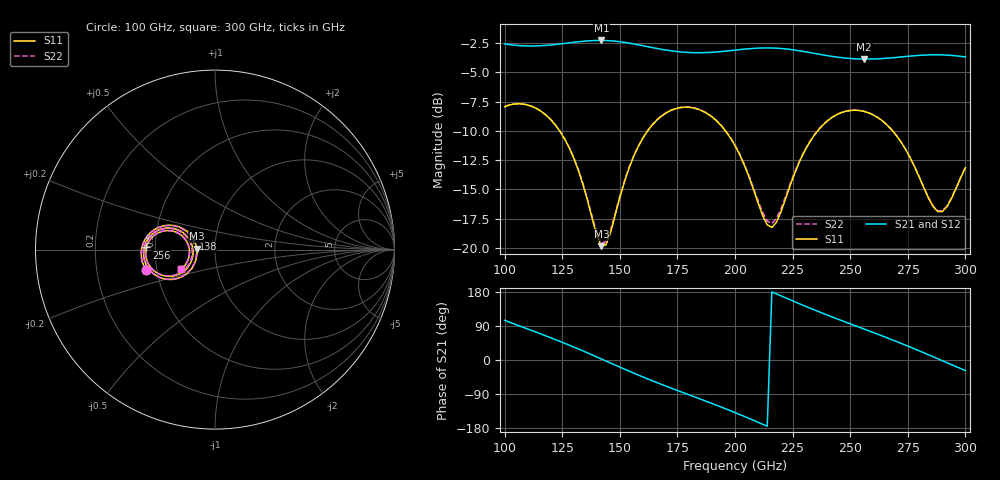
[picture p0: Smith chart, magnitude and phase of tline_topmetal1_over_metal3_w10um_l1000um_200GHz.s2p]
#  GHZ S DB R 50
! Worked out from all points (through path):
!   101 points, 100 GHz to 300 GHz, reference 50 ohm
!   highest |S21| = -2.29 dB at 142 GHz (marker M1); lowest = -3.9 dB at 256 GHz (marker M2)
!   group delay of S21, straight-line fit = 6.85 ps
!   lowest |S11| = -19.8 dB at 142 GHz (marker M3), VSWR 1.23, Z = 40.8 + j0.431 ohm
!   |S11| at or under -10 dB: 123.8 GHz to 162.1 GHz (38.25 GHz wide, 26.8 % of centre); 195.8 GHz to 235.9 GHz (40.07 GHz wide, 18.6 % of centre); 268.4 GHz to end of sweep
!   |S22| runs from -19.6 to -7.7 dB; largest |S21 - S12| = 8.5e-14
!   S11 on the Smith chart (normalised r, x): 100 GHz: 0.43, -0.12; 138 GHz: 0.78, +0.09; 256 GHz: 0.45, +0.01; 300 GHz: 0.67, -0.15
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100  -7.94 -163.4  -2.58 104.7  -2.58 104.7  -7.93 -163.4
118  -8.67 164.5  -2.71 63.5  -2.71 63.5  -8.65 164.8
126  -10.68 152.2  -2.54 44.3  -2.54 44.3  -10.65 152.8
134  -14.57 146.9  -2.36 24.0  -2.36 24.0  -14.50 147.8
138  -17.47 153.8  -2.31 13.5  -2.31 13.5  -17.32 154.8
142  -19.84 177.1  -2.29 2.7  -2.29 2.7  -19.58 177.5
146  -18.67 -153.7  -2.32 -8.0  -2.32 -8.0  -18.47 -154.3
152  -14.36 -139.6  -2.45 -24.1  -2.45 -24.1  -14.28 -140.2
160  -10.63 -145.5  -2.74 -44.6  -2.74 -44.6  -10.60 -145.8
168  -8.76 -157.7  -3.04 -64.1  -3.04 -64.1  -8.74 -157.7
184  -8.16 176.0  -3.34 -100.9  -3.34 -100.9  -8.14 176.3
200  -11.27 153.9  -3.11 -138.8  -3.11 -138.8  -11.21 154.6
208  -15.00 153.7  -2.97 -159.1  -2.97 -159.1  -14.84 154.8
216  -18.25 -174.7  -2.93 179.8  -2.93 179.8  -17.91 -174.8
224  -14.64 -146.4  -3.06 158.7  -3.06 158.7  -14.49 -147.5
234  -10.49 -150.1  -3.38 133.3  -3.38 133.3  -10.45 -150.8
244  -8.64 -163.7  -3.70 109.3  -3.70 109.3  -8.62 -164.2
256  -8.34 178.2  -3.88 81.8  -3.88 81.8  -8.33 178.0
268  -9.91 162.0  -3.77 53.8  -3.77 53.8  -9.90 161.9
280  -13.97 157.2  -3.56 24.1  -3.56 24.1  -13.93 157.3
288  -16.90 178.7  -3.51 3.3  -3.51 3.3  -16.82 178.7
300  -13.14 -150.0  -3.70 -27.9  -3.70 -27.9  -13.11 -150.2
